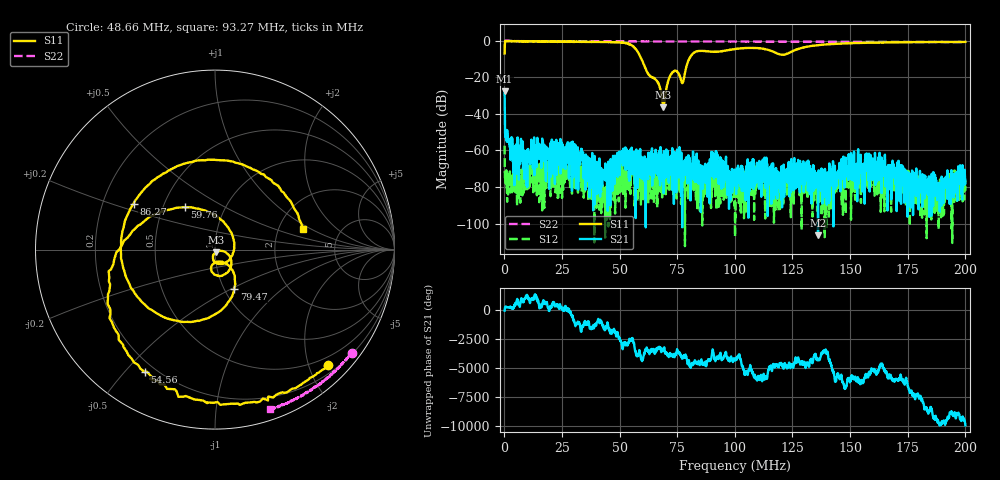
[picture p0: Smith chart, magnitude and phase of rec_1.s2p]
! 27-Aug-26 2:42:53 PM
! E:\20260827_VNA\REC_1.S2P
! CHANNEL.1
! TR.MEASUREMENT
! CORRECTED.DATA
# GHZ S RI R 50.0
! FREQ.GHZ  S11RE  S11IM  S21RE  S21IM  S12RE  S12IM  S22RE  S22IM
!; PortSelection: Port_12
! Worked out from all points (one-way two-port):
!   1999 points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, 150 kHz to 200 MHz, reference 50 ohm
!   highest |S21| = -27.73 dB at 150 kHz (marker M1); lowest = -106.4 dB at 136.1 MHz (marker M2)
!   lowest |S11| = -36.4 dB at 68.97 MHz (marker M3), VSWR 1.03, Z = 50.5 - j1.45 ohm
!   |S11| at or under -10 dB: 59.5 MHz to 80.22 MHz (20.72 MHz wide, 29.7 % of centre)
!   |S22| runs from -0.9 to 0.1 dB; largest |S21 - S12| = 0.041
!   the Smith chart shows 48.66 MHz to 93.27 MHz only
!   S11 on the Smith chart (normalised r, x): 48.66 MHz: 0.35, -2.34; 54.56 MHz: 0.16, -0.57; 59.76 MHz: 0.64, +0.33; 79.47 MHz: 1.11, -0.52; 86.27 MHz: 0.33, +0.23; 93.27 MHz: 2.74, +0.82
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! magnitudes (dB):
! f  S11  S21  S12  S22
! 150 kHz  -7.0  -27.7  -57.4  0.1
! 1.25 MHz  -0.3  -48.9  -88.1  -0.1
! 4.651 MHz  -0.3  -58.2  -78.8  -0.2
! 33.56 MHz  -0.7  -59.2  -82.5  -0.4
! 40.76 MHz  -0.7  -73.5  -84.6  -0.4
! 48.66 MHz  -0.9  -65.0  -79.6  -0.4
! 54.56 MHz  -2.1  -70.5  -73.5  -0.4
! 59.76 MHz  -10.7  -75.4  -75.4  -0.4
! 66.87 MHz  -23.1  -71.7  -70.8  -0.5
! 68.97 MHz  -36.4  -70.4  -74.6  -0.4
! 72.37 MHz  -18.4  -73.2  -69.7  -0.5
! 77.27 MHz  -23.2  -67.8  -69.5  -0.5
! 79.47 MHz  -12.3  -78.1  -72.3  -0.5
! 86.27 MHz  -5.7  -76.9  -81.3  -0.5
! 91.17 MHz  -6.1  -67.2  -65.0  -0.5
! 93.27 MHz  -6.0  -69.1  -76.6  -0.5
! 100.1 MHz  -4.6  -72.3  -107.3  -0.5
! 133.4 MHz  -2.9  -70.4  -85.7  -0.6
! 136.1 MHz  -2.5  -106.4  -79.0  -0.6
! 150.3 MHz  -1.4  -67.9  -68.8  -0.7
! 166.7 MHz  -1.0  -68.8  -80.5  -0.7
! 200 MHz  -0.7  -78.1  -76.5  -0.8
